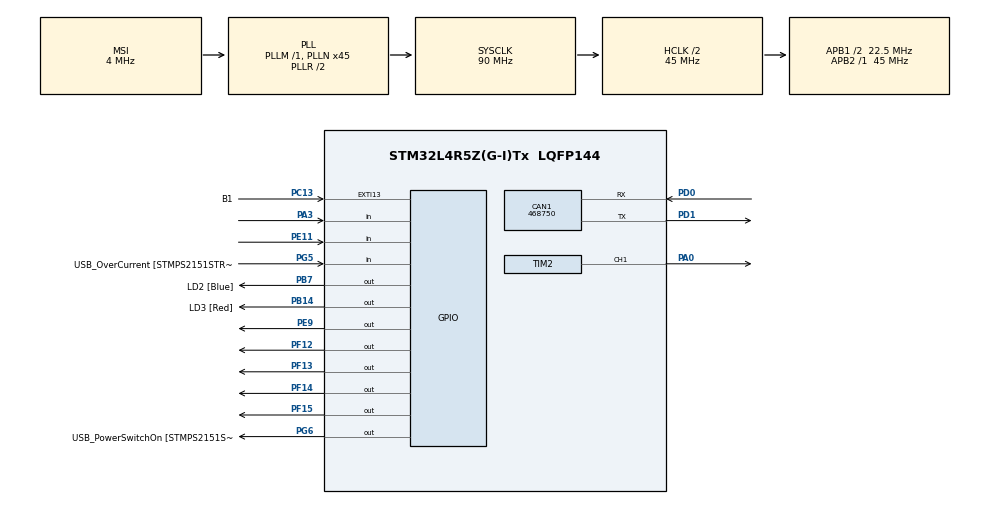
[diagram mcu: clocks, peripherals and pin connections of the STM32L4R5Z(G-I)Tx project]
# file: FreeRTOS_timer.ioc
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CAN1.CalculateBaudRate=468750
CAN1.CalculateTimeBit=2133
CAN1.CalculateTimeQuantum=711.1111111111111
FREERTOS.Tasks01=defaultTask,0,128,StartDefaultTask,Default,NULL,Dynamic,NULL,NULL;task1,0,128,StartTask02,Default,NULL,Dynamic,NULL,NULL;ResetBtnTask,0,128,StartResetBtnTask,Default,NULL,Dynamic,NULL,NULL;BlinkTask,0,128,StartBlinkTask,Default,NULL,Dynamic,NULL,NULL
FREERTOS.configUSE_NEWLIB_REENTRANT=1
FREERTOS.configUSE_TIMERS=1
Mcu.Family=STM32L4
Mcu.Name=STM32L4R5Z(G-I)Tx
Mcu.Package=LQFP144
NVIC.CAN1_RX0_IRQn=true\:5\:0\:false\:false\:true\:true\:true\:true\:true
NVIC.PriorityGroup=NVIC_PRIORITYGROUP_4
NVIC.TIM1_UP_TIM16_IRQn=true\:15\:0\:false\:false\:true\:false\:false\:true\:true
NVIC.TimeBase=TIM1_UP_TIM16_IRQn
NVIC.TimeBaseIP=TIM1
PA0.Signal=S_TIM2_CH1
PA10.GPIO_Label=USB_ID
PA10.Signal=USB_OTG_FS_ID
PA11.GPIO_Label=USB_DM
PA11.Signal=USB_OTG_FS_DM
PA12.GPIO_Label=USB_DP
PA12.Signal=USB_OTG_FS_DP
PA13\ (JTMS/SWDIO).GPIO_Label=TMS
PA13\ (JTMS/SWDIO).Mode=Trace_Asynchronous_SW
PA13\ (JTMS/SWDIO).Signal=SYS_JTMS-SWDIO
PA14\ (JTCK/SWCLK).GPIO_Label=TCK
PA14\ (JTCK/SWCLK).Mode=Trace_Asynchronous_SW
PA14\ (JTCK/SWCLK).Signal=SYS_JTCK-SWCLK
PA3.Signal=GPIO_Input
PA8.GPIO_Label=USB_SOF [TP1]
PA8.Signal=USB_OTG_FS_SOF
PA9.GPIO_Label=USB_VBUS
PA9.Signal=USB_OTG_FS_VBUS
PB14.GPIO_Label=LD3 [Red]
PB14.Signal=GPIO_Output
PB3\ (JTDO/TRACESWO).GPIO_Label=SWO
PB3\ (JTDO/TRACESWO).Mode=Trace_Asynchronous_SW
PB3\ (JTDO/TRACESWO).Signal=SYS_JTDO-SWO
PB7.GPIO_Label=LD2 [Blue]
PB7.Signal=GPIO_Output
PC13.GPIO_Label=B1
PC13.Signal=GPXTI13
PC14-OSC32_IN\ (PC14).Mode=LSE-External-Oscillator
PC14-OSC32_IN\ (PC14).Signal=RCC_OSC32_IN
PC15-OSC32_OUT\ (PC15).Mode=LSE-External-Oscillator
PC15-OSC32_OUT\ (PC15).Signal=RCC_OSC32_OUT
PD0.Mode=CAN_Activate
PD0.Signal=CAN1_RX
PD1.Mode=CAN_Activate
PD1.Signal=CAN1_TX
PD8.GPIO_Label=STLK_RX [STM32F103CBT6_PA3]
PD8.Signal=USART3_TX
PD9.GPIO_Label=STLK_TX [STM32F103CBT6_PA2]
PD9.Signal=USART3_RX
PE11.Signal=GPIO_Input
PE9.Signal=GPIO_Output
PF12.Signal=GPIO_Output
PF13.Signal=GPIO_Output
PF14.Signal=GPIO_Output
PF15.Signal=GPIO_Output
PG5.GPIO_Label=USB_OverCurrent [STMPS2151STR_FAULT]
PG5.Signal=GPIO_Input
PG6.GPIO_Label=USB_PowerSwitchOn [STMPS2151STR_En]
PG6.Signal=GPIO_Output
PG7.GPIO_Label=STLINK_TX
PG7.Signal=LPUART1_TX
PG8.GPIO_Label=STLINK_RX
PG8.Signal=LPUART1_RX
PH0-OSC_IN\ (PH0).Mode=HSE-External-Oscillator
PH0-OSC_IN\ (PH0).Signal=RCC_OSC_IN
PH1-OSC_OUT\ (PH1).Mode=HSE-External-Oscillator
PH1-OSC_OUT\ (PH1).Signal=RCC_OSC_OUT
ProjectManager.HeapSize=0x200
ProjectManager.StackSize=0x400
ProjectManager.TargetToolchain=STM32CubeIDE
RCC.48MHZClocksFreq_Value=24000000
RCC.AHBCLKDivider=RCC_SYSCLK_DIV2
RCC.AHBFreq_Value=45000000
RCC.APB1CLKDivider=RCC_HCLK_DIV2
RCC.APB1Freq_Value=22500000
RCC.APB1TimFreq_Value=45000000
RCC.APB2Freq_Value=45000000
RCC.APB2TimFreq_Value=45000000
RCC.CortexFreq_Value=45000000
RCC.HCLKFreq_Value=45000000
RCC.HSE_VALUE=8000000
RCC.HSI48_VALUE=48000000
RCC.HSI_VALUE=16000000
RCC.MSI_VALUE=4000000
RCC.PLLMUL=RCC_PLL_MUL9
RCC.PLLN=45
RCC.PRESCALERUSB=RCC_USBCLKSOURCE_PLL_DIV1_5
RCC.SYSCLKFreq_VALUE=90000000
RCC.SYSCLKSource=RCC_SYSCLKSOURCE_PLLCLK
RCC.SYSCLKSourceVirtual=RCC_SYSCLKSOURCE_PLLCLK
RCC.USBFreq_Value=16000000
RCC.VCOOutputFreq_Value=180000000
SH.S_TIM2_CH1.0=TIM2_CH1,PWM Generation1 CH1
TIM2.Channel-PWM\ Generation1\ CH1=TIM_CHANNEL_1
TIM2.Period=1000-1
TIM2.Prescaler=900-1
VP_FREERTOS_VS_CMSIS_V1.Mode=CMSIS_V1
VP_SYS_VS_tim1.Mode=TIM1
VP_TIM2_VS_ClockSourceINT.Mode=Internal
board=NUCLEO-L4R5ZI

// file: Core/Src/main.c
/* USER CODE BEGIN Header */
/**
  ******************************************************************************
  * @file           : main.c
  * @brief          : Main program body
  ******************************************************************************
  * @attention
  *
  * Copyright (c) 2024 STMicroelectronics.
  * All rights reserved.
  *
  * This software is licensed under terms that can be found in the LICENSE file
  * in the root directory of this software component.
  * If no LICENSE file comes with this software, it is provided AS-IS.
  *
  ******************************************************************************
  */
/* USER CODE END Header */
#include "main.h"
#include "cmsis_os.h"

/* USER CODE BEGIN Includes */
#include <string.h>
/* USER CODE END Includes */

/* USER CODE BEGIN PD */
#define SHUTDOWN_0         0x0C00
#define SHUTDOWN_1         0x0C01
#define TEST_DISPLAY_EXIT  0x0FFC
#define TEST_DISPLAY_ENTER 0x0FFD
#define DECODE_MODE        0x0900
#define INTENSITY          0x0A05
#define SCAN_LIMIT         0x0B0F
/* USER CODE END PD */

CAN_HandleTypeDef hcan1;

TIM_HandleTypeDef htim2;

osThreadId defaultTaskHandle;
osThreadId task1Handle;
osThreadId ResetBtnTaskHandle;
osThreadId BlinkTaskHandle;
/* USER CODE BEGIN PV */
uint8_t btnValue = 0;
uint8_t lastBtnValue = 0;
int seconds = 20;

CAN_TxHeaderTypeDef TxHeader;
CAN_RxHeaderTypeDef RxHeader;
uint8_t TxData[8];
uint8_t RxData[8];
uint32_t TxMailbox;
/* USER CODE END PV */

void SystemClock_Config(void);
static void MX_GPIO_Init(void);
static void MX_TIM2_Init(void);
static void MX_CAN1_Init(void);
void StartDefaultTask(void const * argument);
void StartTask02(void const * argument);
void StartResetBtnTask(void const * argument);
void StartBlinkTask(void const * argument);

/* USER CODE BEGIN PFP */
void StartTask03(void const * argument);

void SPI_init_device1();
void SPI_stop_device1();
void SPI_init_device2();
void SPI_stop_device2();
void SPI_init(uint8_t deviceNr);
void SPI_stop(uint8_t deviceNr);

void SPI_writeBit(uint16_t bit);
void SPI_writeData(uint16_t data[], uint8_t dataSize, uint8_t deviceNr);
void SPI_writeWord(uint16_t word, uint8_t deviceNr);

void SPI_draw(char img[8], uint8_t deviceNr);
void SPI_draw_numbers();
char (*numberSelect(int nr));
/* USER CODE END PFP */

/* USER CODE BEGIN 0 */
char zero[8]={ 0b00111100,
  		  	   0b01100110,
  			   0b01100110,
  			   0b01100110,
  		       0b01100110,
  			   0b01100110,
  			   0b01100110,
  			   0b00111100};

char one[8]={  0b00111000,
		  	   0b01111000,
			   0b00011000,
			   0b00011000,
		       0b00011000,
			   0b00011000,
			   0b00011000,
			   0b01111110};

char two[8]={  0b00111100,
		  	   0b01100110,
			   0b00000110,
			   0b00001100,
		       0b00011000,
			   0b00110000,
			   0b01111110,
			   0b01111110};

char three[8]={0b00111100,
		  	   0b01100110,
			   0b00000110,
			   0b00011110,
		       0b00011100,
			   0b00000110,
			   0b01100110,
			   0b00111100};

char four[8]={ 0b00001100,
		  	   0b00011100,
			   0b00101100,
			   0b01101100,
		       0b01111110,
			   0b00001100,
			   0b00001100,
			   0b00011110};

char five[8]={ 0b01111110,
		  	   0b01111110,
			   0b01100000,
			   0b01111100,
		       0b00000110,
			   0b00000110,
			   0b01100110,
			   0b01111100};

char six[8]={  0b00111100,
		  	   0b01100110,
			   0b01100000,
			   0b01100000,
		       0b01111100,
			   0b01100110,
			   0b01100110,
			   0b00111100};

char seven[8]={0b01111110,
		  	   0b01100110,
			   0b00000110,
			   0b00000110,
		       0b00001100,
			   0b00011000,
			   0b00110000,
			   0b00110000};

char eight[8]={0b00111100,
		  	   0b01100110,
			   0b01100110,
			   0b00111100,
		       0b00111100,
			   0b01100110,
			   0b01100110,
			   0b00111100};

char nine[8]={ 0b00111100,
		  	   0b01100110,
			   0b01100110,
			   0b00111110,
		       0b00000110,
			   0b00000110,
			   0b01100110,
			   0b00111100};

char Skull [8]={0b00000000,0b01111100,0b11001111,0b11001101,0b11111101,0b11001101,0b11001111,0b01111100};
//char Heart [8]={0b01100000,0b11110000,0b11111000,0b01111100,0b01111100,0b11111000,0b11110000,0b01100000};

void HAL_CAN_RxFifo0MsgPendingCallback(CAN_HandleTypeDef *hcan)
{
  if (HAL_CAN_GetRxMessage(hcan, CAN_RX_FIFO0, &RxHeader, RxData) != HAL_OK)
  {
    Error_Handler();
  }

  /*if ((RxHeader.StdId == 0x103))
  {
	  datacheck = 1;
  }*/
}

/* USER CODE END 0 */

int main(void)
{
  /* USER CODE BEGIN 1 */
	/*TxHeader.IDE = CAN_ID_STD;
	TxHeader.StdId = 0x446;
	TxHeader.RTR = CAN_RTR_DATA;
	TxHeader.DLC = 2;

	if (HAL_CAN_AddTxMessage(&hcan1, &TxHeader, TxData, &TxMailbox) != HAL_OK)
	{
	   Error_Handler ();
	}

	TxData[0] = 50;
	TxData[1] = 0xAA;

	  CAN_FilterTypeDef canfilterconfig;

	  canfilterconfig.FilterActivation = CAN_FILTER_ENABLE;
	  canfilterconfig.FilterBank = 18;  // which filter bank to use from the assigned ones
	  canfilterconfig.FilterFIFOAssignment = CAN_FILTER_FIFO0;
	  canfilterconfig.FilterIdHigh = 0x446<<5;
	  canfilterconfig.FilterIdLow = 0;
	  canfilterconfig.FilterMaskIdHigh = 0x446<<5;
	  canfilterconfig.FilterMaskIdLow = 0x0000;
	  canfilterconfig.FilterMode = CAN_FILTERMODE_IDMASK;
	  canfilterconfig.FilterScale = CAN_FILTERSCALE_32BIT;
	  canfilterconfig.SlaveStartFilterBank = 20;  // how many filters to assign to the CAN1 (master can)

	  HAL_CAN_ConfigFilter(&hcan1, &canfilterconfig);*/

	  if (HAL_CAN_ActivateNotification(&hcan1, CAN_IT_RX_FIFO0_MSG_PENDING) != HAL_OK)
	  {
		  Error_Handler();
	  }
  /* USER CODE END 1 */

  /* MCU Configuration--------------------------------------------------------*/

  /* Reset of all peripherals, Initializes the Flash interface and the Systick. */
  HAL_Init();

  /* Configure the system clock */
  SystemClock_Config();

  /* Initialize all configured peripherals */
  MX_GPIO_Init();
  MX_TIM2_Init();
  MX_CAN1_Init();
  /* USER CODE BEGIN 2 */
  HAL_TIM_PWM_Start(&htim2,TIM_CHANNEL_1);
  const uint8_t  dataSize = 6 ;
  uint16_t data1[6] = {TEST_DISPLAY_ENTER, TEST_DISPLAY_EXIT, DECODE_MODE, INTENSITY, SCAN_LIMIT, SHUTDOWN_1};
  SPI_writeData(data1, dataSize,1);
  SPI_writeData(data1, dataSize,2);
  /* USER CODE END 2 */

  /* Create the thread(s) */
  /* definition and creation of defaultTask */
  osThreadDef(defaultTask, StartDefaultTask, osPriorityNormal, 0, 128);
  defaultTaskHandle = osThreadCreate(osThread(defaultTask), NULL);

  /* definition and creation of task1 */
  osThreadDef(task1, StartTask02, osPriorityNormal, 0, 128);
  task1Handle = osThreadCreate(osThread(task1), NULL);

  /* definition and creation of ResetBtnTask */
  osThreadDef(ResetBtnTask, StartResetBtnTask, osPriorityNormal, 0, 128);
  ResetBtnTaskHandle = osThreadCreate(osThread(ResetBtnTask), NULL);

  /* definition and creation of BlinkTask */
  osThreadDef(BlinkTask, StartBlinkTask, osPriorityNormal, 0, 128);
  BlinkTaskHandle = osThreadCreate(osThread(BlinkTask), NULL);

  /* Start scheduler */
  osKernelStart();

  /* We should never get here as control is now taken by the scheduler */
  /* Infinite loop */
  while (1)
  {

  }
}

void SystemClock_Config(void)
{
  RCC_OscInitTypeDef RCC_OscInitStruct = {0};
  RCC_ClkInitTypeDef RCC_ClkInitStruct = {0};

  /** Configure the main internal regulator output voltage
  */
  if (HAL_PWREx_ControlVoltageScaling(PWR_REGULATOR_VOLTAGE_SCALE1) != HAL_OK)
  {
    Error_Handler();
  }

  /** Initializes the RCC Oscillators according to the specified parameters
  * in the RCC_OscInitTypeDef structure.
  */
  RCC_OscInitStruct.OscillatorType = RCC_OSCILLATORTYPE_MSI;
  RCC_OscInitStruct.MSIState = RCC_MSI_ON;
  RCC_OscInitStruct.MSICalibrationValue = 0;
  RCC_OscInitStruct.MSIClockRange = RCC_MSIRANGE_6;
  RCC_OscInitStruct.PLL.PLLState = RCC_PLL_ON;
  RCC_OscInitStruct.PLL.PLLSource = RCC_PLLSOURCE_MSI;
  RCC_OscInitStruct.PLL.PLLM = 1;
  RCC_OscInitStruct.PLL.PLLN = 45;
  RCC_OscInitStruct.PLL.PLLP = RCC_PLLP_DIV2;
  RCC_OscInitStruct.PLL.PLLQ = RCC_PLLQ_DIV2;
  RCC_OscInitStruct.PLL.PLLR = RCC_PLLR_DIV2;
  if (HAL_RCC_OscConfig(&RCC_OscInitStruct) != HAL_OK)
  {
    Error_Handler();
  }

  /** Initializes the CPU, AHB and APB buses clocks
  */
  RCC_ClkInitStruct.ClockType = RCC_CLOCKTYPE_HCLK|RCC_CLOCKTYPE_SYSCLK
                              |RCC_CLOCKTYPE_PCLK1|RCC_CLOCKTYPE_PCLK2;
  RCC_ClkInitStruct.SYSCLKSource = RCC_SYSCLKSOURCE_PLLCLK;
  RCC_ClkInitStruct.AHBCLKDivider = RCC_SYSCLK_DIV2;
  RCC_ClkInitStruct.APB1CLKDivider = RCC_HCLK_DIV2;
  RCC_ClkInitStruct.APB2CLKDivider = RCC_HCLK_DIV1;

  if (HAL_RCC_ClockConfig(&RCC_ClkInitStruct, FLASH_LATENCY_2) != HAL_OK)
  {
    Error_Handler();
  }
}

static void MX_CAN1_Init(void)
{

  hcan1.Instance = CAN1;
  hcan1.Init.Prescaler = 16;
  hcan1.Init.Mode = CAN_MODE_NORMAL;
  hcan1.Init.SyncJumpWidth = CAN_SJW_1TQ;
  hcan1.Init.TimeSeg1 = CAN_BS1_1TQ;
  hcan1.Init.TimeSeg2 = CAN_BS2_1TQ;
  hcan1.Init.TimeTriggeredMode = DISABLE;
  hcan1.Init.AutoBusOff = DISABLE;
  hcan1.Init.AutoWakeUp = DISABLE;
  hcan1.Init.AutoRetransmission = DISABLE;
  hcan1.Init.ReceiveFifoLocked = DISABLE;
  hcan1.Init.TransmitFifoPriority = DISABLE;
  if (HAL_CAN_Init(&hcan1) != HAL_OK)
  {
    Error_Handler();
  }

}

static void MX_TIM2_Init(void)
{

  TIM_ClockConfigTypeDef sClockSourceConfig = {0};
  TIM_MasterConfigTypeDef sMasterConfig = {0};
  TIM_OC_InitTypeDef sConfigOC = {0};

  htim2.Instance = TIM2;
  htim2.Init.Prescaler = 900-1;
  htim2.Init.CounterMode = TIM_COUNTERMODE_UP;
  htim2.Init.Period = 1000-1;
  htim2.Init.ClockDivision = TIM_CLOCKDIVISION_DIV1;
  htim2.Init.AutoReloadPreload = TIM_AUTORELOAD_PRELOAD_DISABLE;
  if (HAL_TIM_Base_Init(&htim2) != HAL_OK)
  {
    Error_Handler();
  }
  sClockSourceConfig.ClockSource = TIM_CLOCKSOURCE_INTERNAL;
  if (HAL_TIM_ConfigClockSource(&htim2, &sClockSourceConfig) != HAL_OK)
  {
    Error_Handler();
  }
  if (HAL_TIM_PWM_Init(&htim2) != HAL_OK)
  {
    Error_Handler();
  }
  sMasterConfig.MasterOutputTrigger = TIM_TRGO_RESET;
  sMasterConfig.MasterSlaveMode = TIM_MASTERSLAVEMODE_DISABLE;
  if (HAL_TIMEx_MasterConfigSynchronization(&htim2, &sMasterConfig) != HAL_OK)
  {
    Error_Handler();
  }
  sConfigOC.OCMode = TIM_OCMODE_PWM1;
  sConfigOC.Pulse = 0;
  sConfigOC.OCPolarity = TIM_OCPOLARITY_HIGH;
  sConfigOC.OCFastMode = TIM_OCFAST_DISABLE;
  if (HAL_TIM_PWM_ConfigChannel(&htim2, &sConfigOC, TIM_CHANNEL_1) != HAL_OK)
  {
    Error_Handler();
  }
  HAL_TIM_MspPostInit(&htim2);

}

static void MX_GPIO_Init(void)
{
  GPIO_InitTypeDef GPIO_InitStruct = {0};

  /* GPIO Ports Clock Enable */
  __HAL_RCC_GPIOC_CLK_ENABLE();
  __HAL_RCC_GPIOH_CLK_ENABLE();
  __HAL_RCC_GPIOA_CLK_ENABLE();
  __HAL_RCC_GPIOF_CLK_ENABLE();
  __HAL_RCC_GPIOE_CLK_ENABLE();
  __HAL_RCC_GPIOB_CLK_ENABLE();
  __HAL_RCC_GPIOD_CLK_ENABLE();
  __HAL_RCC_GPIOG_CLK_ENABLE();
  HAL_PWREx_EnableVddIO2();

  /*Configure GPIO pin Output Level */
  HAL_GPIO_WritePin(GPIOF, GPIO_PIN_12|GPIO_PIN_13|GPIO_PIN_14|GPIO_PIN_15, GPIO_PIN_RESET);

  /*Configure GPIO pin Output Level */
  HAL_GPIO_WritePin(GPIOE, GPIO_PIN_9, GPIO_PIN_RESET);

  /*Configure GPIO pin Output Level */
  HAL_GPIO_WritePin(GPIOB, LD3_Pin|LD2_Pin, GPIO_PIN_RESET);

  /*Configure GPIO pin Output Level */
  HAL_GPIO_WritePin(USB_PowerSwitchOn_GPIO_Port, USB_PowerSwitchOn_Pin, GPIO_PIN_RESET);

  /*Configure GPIO pin : B1_Pin */
  GPIO_InitStruct.Pin = B1_Pin;
  GPIO_InitStruct.Mode = GPIO_MODE_IT_RISING;
  GPIO_InitStruct.Pull = GPIO_NOPULL;
  HAL_GPIO_Init(B1_GPIO_Port, &GPIO_InitStruct);

  /*Configure GPIO pin : PA3 */
  GPIO_InitStruct.Pin = GPIO_PIN_3;
  GPIO_InitStruct.Mode = GPIO_MODE_INPUT;
  GPIO_InitStruct.Pull = GPIO_NOPULL;
  HAL_GPIO_Init(GPIOA, &GPIO_InitStruct);

  /*Configure GPIO pins : PF12 PF13 PF14 PF15 */
  GPIO_InitStruct.Pin = GPIO_PIN_12|GPIO_PIN_13|GPIO_PIN_14|GPIO_PIN_15;
  GPIO_InitStruct.Mode = GPIO_MODE_OUTPUT_PP;
  GPIO_InitStruct.Pull = GPIO_NOPULL;
  GPIO_InitStruct.Speed = GPIO_SPEED_FREQ_LOW;
  HAL_GPIO_Init(GPIOF, &GPIO_InitStruct);

  /*Configure GPIO pin : PE9 */
  GPIO_InitStruct.Pin = GPIO_PIN_9;
  GPIO_InitStruct.Mode = GPIO_MODE_OUTPUT_PP;
  GPIO_InitStruct.Pull = GPIO_NOPULL;
  GPIO_InitStruct.Speed = GPIO_SPEED_FREQ_LOW;
  HAL_GPIO_Init(GPIOE, &GPIO_InitStruct);

  /*Configure GPIO pin : PE11 */
  GPIO_InitStruct.Pin = GPIO_PIN_11;
  GPIO_InitStruct.Mode = GPIO_MODE_INPUT;
  GPIO_InitStruct.Pull = GPIO_NOPULL;
  HAL_GPIO_Init(GPIOE, &GPIO_InitStruct);

  /*Configure GPIO pins : LD3_Pin LD2_Pin */
  GPIO_InitStruct.Pin = LD3_Pin|LD2_Pin;
  GPIO_InitStruct.Mode = GPIO_MODE_OUTPUT_PP;
  GPIO_InitStruct.Pull = GPIO_NOPULL;
  GPIO_InitStruct.Speed = GPIO_SPEED_FREQ_LOW;
  HAL_GPIO_Init(GPIOB, &GPIO_InitStruct);

  /*Configure GPIO pins : STLK_RX_Pin STLK_TX_Pin */
  GPIO_InitStruct.Pin = STLK_RX_Pin|STLK_TX_Pin;
  GPIO_InitStruct.Mode = GPIO_MODE_AF_PP;
  GPIO_InitStruct.Pull = GPIO_NOPULL;
  GPIO_InitStruct.Speed = GPIO_SPEED_FREQ_VERY_HIGH;
  GPIO_InitStruct.Alternate = GPIO_AF7_USART3;
  HAL_GPIO_Init(GPIOD, &GPIO_InitStruct);

  /*Configure GPIO pin : USB_OverCurrent_Pin */
  GPIO_InitStruct.Pin = USB_OverCurrent_Pin;
  GPIO_InitStruct.Mode = GPIO_MODE_INPUT;
  GPIO_InitStruct.Pull = GPIO_NOPULL;
  HAL_GPIO_Init(USB_OverCurrent_GPIO_Port, &GPIO_InitStruct);

  /*Configure GPIO pin : USB_PowerSwitchOn_Pin */
  GPIO_InitStruct.Pin = USB_PowerSwitchOn_Pin;
  GPIO_InitStruct.Mode = GPIO_MODE_OUTPUT_PP;
  GPIO_InitStruct.Pull = GPIO_NOPULL;
  GPIO_InitStruct.Speed = GPIO_SPEED_FREQ_LOW;
  HAL_GPIO_Init(USB_PowerSwitchOn_GPIO_Port, &GPIO_InitStruct);

  /*Configure GPIO pins : STLINK_TX_Pin STLINK_RX_Pin */
  GPIO_InitStruct.Pin = STLINK_TX_Pin|STLINK_RX_Pin;
  GPIO_InitStruct.Mode = GPIO_MODE_AF_PP;
  GPIO_InitStruct.Pull = GPIO_NOPULL;
  GPIO_InitStruct.Speed = GPIO_SPEED_FREQ_VERY_HIGH;
  GPIO_InitStruct.Alternate = GPIO_AF8_LPUART1;
  HAL_GPIO_Init(GPIOG, &GPIO_InitStruct);

  /*Configure GPIO pins : USB_SOF_Pin USB_ID_Pin USB_DM_Pin USB_DP_Pin */
  GPIO_InitStruct.Pin = USB_SOF_Pin|USB_ID_Pin|USB_DM_Pin|USB_DP_Pin;
  GPIO_InitStruct.Mode = GPIO_MODE_AF_PP;
  GPIO_InitStruct.Pull = GPIO_NOPULL;
  GPIO_InitStruct.Speed = GPIO_SPEED_FREQ_VERY_HIGH;
  GPIO_InitStruct.Alternate = GPIO_AF10_OTG_FS;
  HAL_GPIO_Init(GPIOA, &GPIO_InitStruct);

  /*Configure GPIO pin : USB_VBUS_Pin */
  GPIO_InitStruct.Pin = USB_VBUS_Pin;
  GPIO_InitStruct.Mode = GPIO_MODE_INPUT;
  GPIO_InitStruct.Pull = GPIO_NOPULL;
  HAL_GPIO_Init(USB_VBUS_GPIO_Port, &GPIO_InitStruct);

}

/* USER CODE BEGIN 4 */

//-------------------------------------------------------------------------------------------------
/* this section contains the functions necessary for selecting and disabling a display
 * SPI_init_device1() -- moves chip select from high to low for device 1
 * SPI_init_device2() -- moves chip select from high to low for device 2
 * SPI_stop_device1() -- on the rising edge of the clock puts the CS signal on high disabling device 1
 * SPI_stop_device2() -- on the rising edge of the clock puts the CS signal on high disabling device 2
 *
 * SPI_init(uint8_t deviceNr) -- selects the right device according to the parameter
 * SPI_stop(uint8_t deviceNr) -- disables the right device according to the parameter
*/
void SPI_init_device1()
{
	HAL_GPIO_WritePin(GPIOF, GPIO_PIN_13, GPIO_PIN_SET);
	HAL_GPIO_WritePin(GPIOF, GPIO_PIN_13, GPIO_PIN_RESET);
}

void SPI_stop_device1()
{
	HAL_GPIO_WritePin(GPIOE, GPIO_PIN_9, GPIO_PIN_RESET);
	HAL_GPIO_WritePin(GPIOF, GPIO_PIN_13, GPIO_PIN_SET);
	HAL_GPIO_WritePin(GPIOE, GPIO_PIN_9, GPIO_PIN_SET);
}

void SPI_init_device2()
{
	HAL_GPIO_WritePin(GPIOF, GPIO_PIN_15, GPIO_PIN_SET);
	HAL_GPIO_WritePin(GPIOF, GPIO_PIN_15, GPIO_PIN_RESET);
}

void SPI_stop_device2()
{
	HAL_GPIO_WritePin(GPIOE, GPIO_PIN_9, GPIO_PIN_RESET);
	HAL_GPIO_WritePin(GPIOF, GPIO_PIN_15, GPIO_PIN_SET);
	HAL_GPIO_WritePin(GPIOE, GPIO_PIN_9, GPIO_PIN_SET);
}

void SPI_init(uint8_t deviceNr)
{
	if(deviceNr == 1)
	{
		SPI_init_device1();
	}
	else
	{
		SPI_init_device2();
	}
}

void SPI_stop(uint8_t deviceNr)
{
	if(deviceNr == 1)
	{
		SPI_stop_device1();
	}
	else
	{
		SPI_stop_device2();
	}
}
//-------------------------------------------------------------------------------------------------

//-------------------------------------------------------------------------------------------------
/* this section contains the functions necessary in writing the data, and establishing the SPI sync
 * SPI_writeBit(uint16_t bit)
 * 		-- puts the clock on low, writes the bit it received, then puts the clock back on high
 * 		   so that the data is stable and written on the rising edge
 *
 * SPI_writeWord(uint16_t word,uint8_t deviceNr)
 * 		-- writes a 16bit long data packet, starting with the SPI_init(deviceNr); function and ,
 * 		   after the data is sent bit by bit starting with MSB, it calls the SPI_stop(deviceNr); function
 *
 * void SPI_writeData(uint16_t *data, uint8_t dataSize, uint8_t deviceNr)
 * 		-- loops through every word in the data array
*/
void SPI_writeBit(uint16_t bit)
{
	HAL_GPIO_WritePin(GPIOE, GPIO_PIN_9, GPIO_PIN_RESET);
	if(bit == 0)
	{
		HAL_GPIO_WritePin(GPIOF, GPIO_PIN_14, GPIO_PIN_RESET);
	}
	else
	{
		HAL_GPIO_WritePin(GPIOF, GPIO_PIN_14, GPIO_PIN_SET);
	}
	HAL_GPIO_WritePin(GPIOE, GPIO_PIN_9, GPIO_PIN_SET);
}

void SPI_writeWord(uint16_t word,uint8_t deviceNr)
{
	SPI_init(deviceNr);
	for(uint8_t i=0; i<16 ; i++)
	{
		SPI_writeBit((word & (1<<15)) >> 15);
		word <<= 1;
	}
	SPI_stop(deviceNr);
}

void SPI_writeData(uint16_t *data, uint8_t dataSize, uint8_t deviceNr)
{
	for(uint8_t i=0; i<dataSize ; i++)
	{
		SPI_writeWord(data[i], deviceNr);
	}
}
//-------------------------------------------------------------------------------------------------

//-------------------------------------------------------------------------------------------------
/* this section contains the functions necessary for displaying images
 * SPI_draw(char img[8], uint8_t deviceNr)
 * 		-- writes the data in the registers responsible with LED activation (displays the received data)
 *
 * SPI_draw_numbers(uint8_t nr)
 * 		-- splits the number given and maps it on the two displays
 *
 * char (*numberSelect(int nr))
 * 		-- returns the array corresponding to the given number
*/
void SPI_draw(char img[8], uint8_t deviceNr)
{
	uint16_t displayWord = 0;

	for (int i=1;i<9;i++)
	{
		displayWord = 0;
		displayWord = (i<<8) | img[i-1];
		SPI_writeWord(displayWord,deviceNr);
	}
}

void SPI_draw_numbers()
{

	if(seconds>9)
		{
			SPI_draw(numberSelect(seconds%10),1);
			SPI_draw(numberSelect(seconds/10),2);
		}
		else
		{
			SPI_draw(numberSelect(seconds),1);
			SPI_draw(zero,2);
		}

}

char (*numberSelect(int nr))
{
	switch (nr)
	  {
	  case 0:
	  return zero;
	  case 1:
	  return one;
	  case 2:
	  return two;
	  case 3:
	  return three;
	  case 4:
	  return four;
	  case 5:
	  return five;
	  case 6:
	  return six;
	  case 7:
	  return seven;
	  case 8:
	  return eight;
	  case 9:
	  return nine;

	  default:
	  return Skull;
	  }
}
//-------------------------------------------------------------------------------------------------

/* USER CODE END 4 */

void StartDefaultTask(void const * argument)
{
  /* USER CODE BEGIN 5 */
  /* Counter and display function*/
  for(;;)
  {
    osDelay(1000);
    SPI_draw_numbers();
    seconds--;

    if(seconds < 0)
    {
    	seconds = 20;
    }
  }
  /* USER CODE END 5 */
}

void StartTask02(void const * argument)
{
  /* USER CODE BEGIN StartTask02 */
  for(;;)
  {
	//Change the width of the PWM to reposition the servo
	  if(seconds ==0 || seconds < 0)
	  {
		  htim2.Instance->CCR1 = 100;
		  osDelay(1000);
		  htim2.Instance->CCR1 = 50;
	  }

  }
  /* USER CODE END StartTask02 */
}

void StartResetBtnTask(void const * argument)
{
  /* USER CODE BEGIN StartResetBtnTask */
  /* Infinite loop */
  for(;;)
  {
	  btnValue = HAL_GPIO_ReadPin (GPIOA, GPIO_PIN_3);
	 	  if(btnValue != lastBtnValue && btnValue == 1)
	 	  {
	 		  seconds = 20;
	 	  	  osDelay(200);
	 	  }
	 	  lastBtnValue = btnValue;
  }
  /* USER CODE END StartResetBtnTask */
}

void StartBlinkTask(void const * argument)
{
  /* USER CODE BEGIN StartBlinkTask */
  /* Infinite loop */
  for(;;)
  {
	  HAL_GPIO_WritePin (GPIOF, GPIO_PIN_12, GPIO_PIN_SET);
	  osDelay(10);
	  HAL_GPIO_WritePin (GPIOF, GPIO_PIN_12, GPIO_PIN_RESET);
	  osDelay(1990);
  }
  /* USER CODE END StartBlinkTask */
}

void HAL_TIM_PeriodElapsedCallback(TIM_HandleTypeDef *htim)
{
  if (htim->Instance == TIM1) {
    HAL_IncTick();
  }
}

void Error_Handler(void)
{
  __disable_irq();
  while (1)
  {
  }
}
